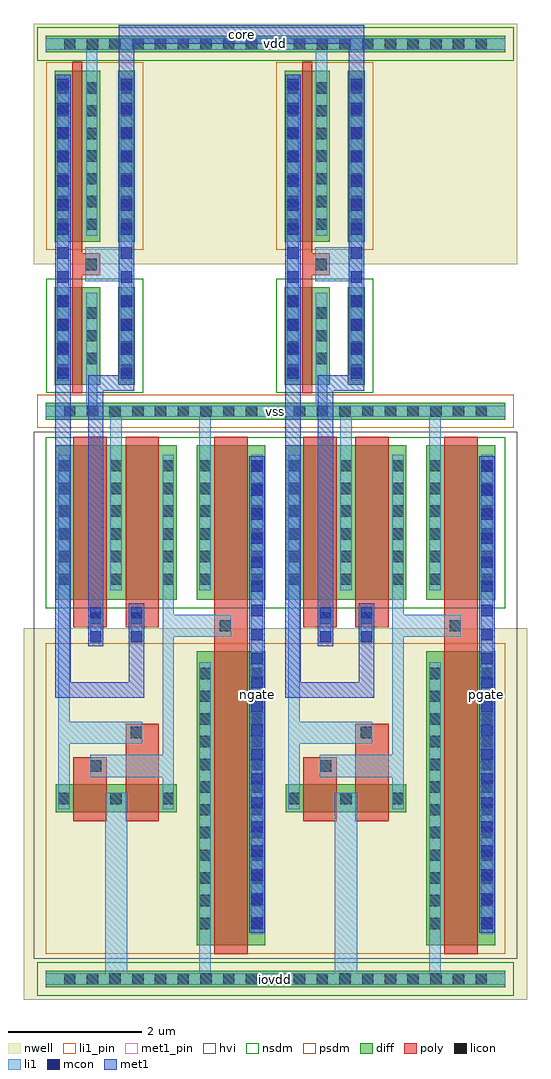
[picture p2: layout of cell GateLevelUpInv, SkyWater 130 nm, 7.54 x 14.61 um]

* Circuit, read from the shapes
.subckt GateLevelUpInv core iovdd ngate pgate vdd vss
XM1 vss core n1 VSUBS sky130_fd_pr__nfet_01v8 w=1.46 l=0.15
XM2 vss core n2 VSUBS sky130_fd_pr__nfet_g5v0d10v5 w=2.31 l=0.5
XM3 n3 n1 vss VSUBS sky130_fd_pr__nfet_g5v0d10v5 w=2.31 l=0.5
XM4 ngate n3 vss VSUBS sky130_fd_pr__nfet_g5v0d10v5 w=2.31 l=0.5
XM5 vss core n4 VSUBS sky130_fd_pr__nfet_01v8 w=1.46 l=0.15
XM6 vss core n5 VSUBS sky130_fd_pr__nfet_g5v0d10v5 w=2.31 l=0.5
XM7 n6 n4 vss VSUBS sky130_fd_pr__nfet_g5v0d10v5 w=2.31 l=0.5
XM8 pgate n6 vss VSUBS sky130_fd_pr__nfet_g5v0d10v5 w=2.31 l=0.5
XM9 vdd core n1 n7 sky130_fd_pr__pfet_01v8 w=2.56 l=0.15
XM10 iovdd n3 n2 n8 sky130_fd_pr__pfet_g5v0d10v5 w=0.42 l=0.5
XM11 n3 n2 iovdd n8 sky130_fd_pr__pfet_g5v0d10v5 w=0.42 l=0.5
XM12 ngate n3 iovdd n8 sky130_fd_pr__pfet_g5v0d10v5 w=4.4 l=0.5
XM13 vdd core n4 n7 sky130_fd_pr__pfet_01v8 w=2.56 l=0.15
XM14 iovdd n6 n5 n8 sky130_fd_pr__pfet_g5v0d10v5 w=0.42 l=0.5
XM15 n6 n5 iovdd n8 sky130_fd_pr__pfet_g5v0d10v5 w=0.42 l=0.5
XM16 pgate n6 iovdd n8 sky130_fd_pr__pfet_g5v0d10v5 w=4.4 l=0.5
.ends

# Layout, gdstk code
import gdstk
lib = gdstk.Library(unit=1e-6, precision=1e-09)
def R(c, l, rs):  # rectangles x0, y0, x1, y1
    for r in rs: c.add(gdstk.rectangle(r[:2], r[2:], *l))
def A(c, l, x, y, w, h, nx, ny, dx, dy):  # array of equal rectangles
    R(c, l, [(x+i*dx, y+j*dy, x+i*dx+w, y+j*dy+h) for i in range(nx) for j in range(ny)])
def P(c, l, *ps):  # polygons
    for p in ps: c.add(gdstk.Polygon(p, *l))
nwell = (64, 20)
diff = (65, 20)
poly = (66, 20)
licon = (66, 44)
li1_pin = (67, 16)
li1 = (67, 20)
mcon = (67, 44)
met1_pin = (68, 16)
met1 = (68, 20)
hvi = (75, 20)
nsdm = (93, 44)
psdm = (94, 20)

levelupinv = lib.new_cell('LevelUpInv')
R(levelupinv, nwell, [(-0.33,-0.305,3.77,5.25), (-0.18,10.7,3.62,14.305)])
R(levelupinv, diff, [(0,-0.125,3.44,0.125), (2.26,0.505,3.29,4.905), (0.15,2.495,1.96,2.915), (0.15,5.68,1.18,7.99), (1.09,5.68,1.8,7.99), (1.71,5.68,1.96,7.99), (2.26,5.68,3.29,7.99), (0,8.375,3.44,8.625), (0.135,8.9,0.815,10.36), (1.085,8.9,1.335,10.36), (0.135,11.04,0.815,13.6), (1.085,11.04,1.335,13.6), (0,13.875,3.44,14.125)])
R(levelupinv, poly, [(2.525,0.375,3.025,8.12), (0.415,2.365,0.915,3.325), (0.415,2.365,0.915,3.045), (1.195,2.365,1.695,3.825), (1.195,3.555,1.525,3.825), (0.415,5.27,0.915,8.12), (0.585,5.27,0.915,5.54), (1.195,5.27,1.525,5.54), (1.195,5.27,1.695,8.12), (0.415,5.55,0.915,8.12), (1.195,5.55,1.695,8.12)])
P(levelupinv, poly, [(0.4,8.77),(0.4,13.73),(0.55,13.73),(0.55,10.865),(0.815,10.865),(0.815,10.535),(0.55,10.535),(0.55,8.77)])
A(levelupinv, licon, 0.275, -0.085, 0.17, 0.17, 9, 2, 0.34, 8.5)
A(levelupinv, licon, 2.3, 0.75, 0.17, 0.17, 1, 12, 0, 0.34)
A(levelupinv, licon, 3.08, 0.75, 0.17, 0.17, 1, 12, 0, 0.34)
A(levelupinv, licon, 0.19, 2.62, 0.17, 0.17, 3, 2, 0.78, 3.28)
A(levelupinv, licon, 2.3, 5.9, 0.17, 0.17, 1, 6, 0, 0.34)
A(levelupinv, licon, 3.08, 5.9, 0.17, 0.17, 1, 6, 0, 0.34)
A(levelupinv, licon, 0.19, 6.24, 0.17, 0.17, 3, 5, 0.78, 0.34)
A(levelupinv, licon, 0.175, 9.035, 0.17, 0.17, 1, 4, 0, 0.34)
A(levelupinv, licon, 1.125, 9.035, 0.17, 0.17, 1, 4, 0, 0.34)
A(levelupinv, licon, 0.605, 9.205, 0.17, 0.17, 1, 3, 0, 0.34)
A(levelupinv, licon, 0.175, 11.215, 0.17, 0.17, 1, 7, 0, 0.34)
A(levelupinv, licon, 0.605, 11.215, 0.17, 0.17, 1, 7, 0, 0.34)
A(levelupinv, licon, 1.125, 11.215, 0.17, 0.17, 1, 7, 0, 0.34)
A(levelupinv, licon, 0.275, 13.915, 0.17, 0.17, 9, 1, 0.34, 0)
R(levelupinv, licon, [(0.665,3.105,0.835,3.275), (1.275,3.605,1.445,3.775), (2.605,5.205,2.775,5.375), (0.665,5.32,0.835,5.49), (1.275,5.32,1.445,5.49), (0.595,10.615,0.765,10.785)])
R(levelupinv, li1_pin, [(0,-0.085,3.44,0.085), (0,8.415,3.44,8.585), (0,13.915,3.44,14.085)])
R(levelupinv, li1, [(3.08,0.67,3.25,7.85), (0.665,3.025,0.835,3.355), (1.275,3.525,1.445,3.855), (0.665,5.04,0.835,5.57), (1.275,5.04,1.445,5.57), (0.665,5.24,0.835,5.57), (1.275,5.24,1.445,5.57), (0.175,8.955,0.345,13.505)])
P(levelupinv, li1, [(0.605,11.125),(0.605,13.915),(0,13.915),(0,14.085),(3.44,14.085),(3.44,13.915),(0.775,13.915),(0.775,11.125)],
  [(0.97,5.82),(0.97,8.415),(0,8.415),(0,8.585),(0.605,8.585),(0.605,10.275),(0.775,10.275),(0.775,8.585),(3.44,8.585),(3.44,8.415),(2.47,8.415),(2.47,5.82),(2.3,5.82),(2.3,8.415),(1.14,8.415),(1.14,5.82)],
  [(1.125,8.955),(1.125,10.445),(0.595,10.445),(0.595,10.955),(1.125,10.955),(1.125,13.505),(1.295,13.505),(1.295,8.955)],
  [(0.19,2.54),(0.19,7.85),(0.36,7.85),(0.36,3.855),(1.445,3.855),(1.445,3.525),(0.36,3.525),(0.36,2.54)],
  [(0,-0.085),(0,0.085),(0.89,0.085),(0.89,2.79),(1.22,2.79),(1.22,0.085),(2.3,0.085),(2.3,4.74),(2.47,4.74),(2.47,0.085),(3.44,0.085),(3.44,-0.085)],
  [(1.75,2.54),(1.75,3.025),(0.665,3.025),(0.665,3.355),(1.75,3.355),(1.75,7.85),(1.92,7.85),(1.92,5.455),(2.775,5.455),(2.775,5.125),(1.92,5.125),(1.92,2.54)])
A(levelupinv, mcon, 3.08, 0.755, 0.17, 0.17, 1, 20, 0, 0.36)
A(levelupinv, mcon, 0.175, 8.985, 0.17, 0.17, 1, 13, 0, 0.36)
A(levelupinv, mcon, 1.125, 8.985, 0.17, 0.17, 1, 13, 0, 0.36)
R(levelupinv, mcon, [(0.665,5.04,0.835,5.21), (1.275,5.04,1.445,5.21), (0.665,5.4,0.835,5.57), (1.275,5.4,1.445,5.57)])
R(levelupinv, met1_pin, [(3.05,0.695,3.28,7.825), (1.095,8.925,1.325,13.535)])
R(levelupinv, met1, [(3.05,0.695,3.28,7.825), (0.635,4.98,0.865,5.63), (1.245,4.98,1.475,5.63), (1.095,8.925,1.325,13.535)])
P(levelupinv, met1, [(0.635,5.63),(0.635,9.04),(1.325,9.04),(1.325,8.81),(0.865,8.81),(0.865,5.63)],
  [(0.145,4.215),(0.145,13.535),(0.375,13.535),(0.375,4.445),(1.245,4.445),(1.245,4.98),(1.475,4.98),(1.475,4.215)])
R(levelupinv, hvi, [(-0.18,0.305,3.62,8.195)])
R(levelupinv, nsdm, [(-0.125,-0.25,3.565,0.25), (0,5.555,3.44,8.115), (0.01,8.775,1.46,10.485), (-0.125,13.75,3.565,14.25)])
R(levelupinv, psdm, [(0,0.38,3.44,5.03), (-0.125,8.25,3.565,8.75), (0.01,10.915,1.46,13.725)])
levelupinv.add(gdstk.Label('i', (1.21,11.23), layer=68, texttype=16))
levelupinv.add(gdstk.Label('o', (3.165,4.26), layer=68, texttype=16))
levelupinv.add(gdstk.Label('vdd', (1.72,14), layer=67, texttype=16))
levelupinv.add(gdstk.Label('vss', (1.72,8.5), layer=67, texttype=16))
levelupinv.add(gdstk.Label('iovdd', (1.72,0), layer=67, texttype=16))

gatelevelupinv = lib.new_cell('GateLevelUpInv')
R(gatelevelupinv, li1_pin, [(0,-15.085,6.88,-14.915), (0,-6.585,6.88,-6.415), (0,-1.085,6.88,-0.915)])
R(gatelevelupinv, li1, [(0,-15.085,6.88,-14.915), (0,-6.585,6.88,-6.415), (0,-1.085,6.88,-0.915)])
R(gatelevelupinv, met1_pin, [(3.05,-14.305,3.28,-7.175), (6.49,-14.305,6.72,-7.175), (1.095,-1,4.765,-0.72)])
R(gatelevelupinv, met1, [(3.05,-14.305,3.28,-7.175), (6.49,-14.305,6.72,-7.175)])
P(gatelevelupinv, met1, [(1.095,-6.075),(1.095,-0.72),(4.765,-0.72),(4.765,-6.075),(4.535,-6.075),(4.535,-1),(1.325,-1),(1.325,-6.075)])
gatelevelupinv.add(gdstk.Reference(levelupinv, (0,-15)))
gatelevelupinv.add(gdstk.Reference(levelupinv, (3.44,-15)))
gatelevelupinv.add(gdstk.Label('core', (2.93,-0.86), layer=68, texttype=16))
gatelevelupinv.add(gdstk.Label('ngate', (3.165,-10.74), layer=68, texttype=16))
gatelevelupinv.add(gdstk.Label('pgate', (6.605,-10.74), layer=68, texttype=16))
gatelevelupinv.add(gdstk.Label('vss', (3.44,-6.5), layer=67, texttype=16))
gatelevelupinv.add(gdstk.Label('vdd', (3.44,-1), layer=67, texttype=16))
gatelevelupinv.add(gdstk.Label('iovdd', (3.44,-15), layer=67, texttype=16))

lib.write_gds('GateLevelUpInv.gds')
